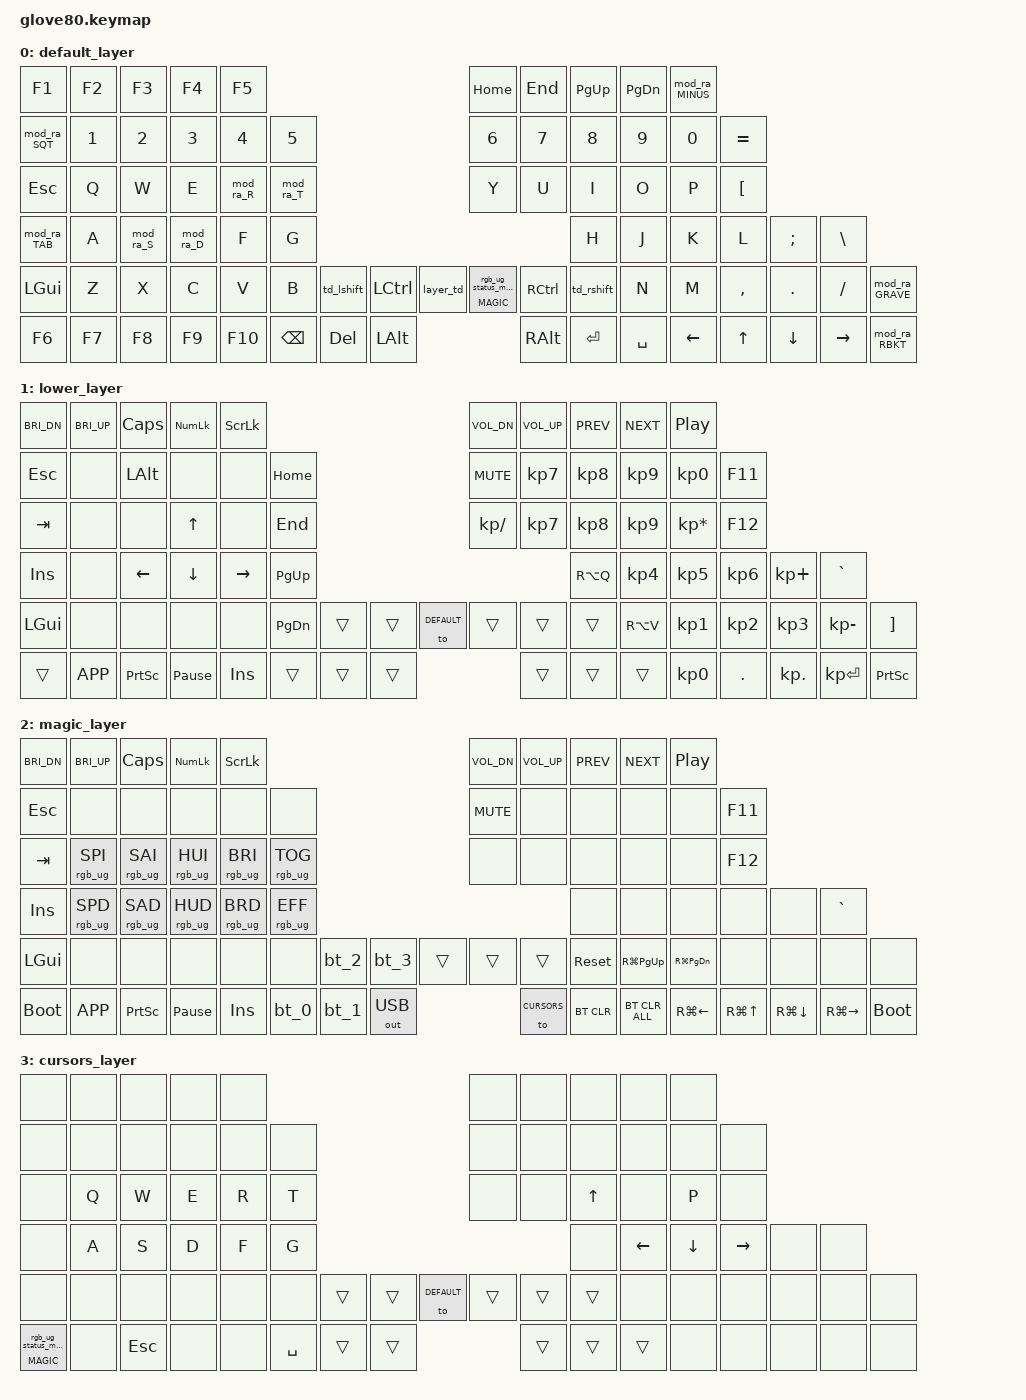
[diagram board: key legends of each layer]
/*
 * Copyright (c) 2020 The ZMK Contributors
 *
 * SPDX-License-Identifier: MIT
 */

#include <behaviors.dtsi>
#include <dt-bindings/zmk/keys.h>
#include <dt-bindings/zmk/bt.h>
#include <dt-bindings/zmk/ext_power.h>
#include <dt-bindings/zmk/outputs.h>
#include <dt-bindings/zmk/rgb.h>

#define HYPER LC(LS(LG(LALT)))

// layers
#define DEFAULT 0
#define LOWER 1
#define MAGIC 2
#define CURSORS 3

/*ROW 01*/
#define k_F1	0
#define k_F2	1
#define k_F3	2
#define k_F4	3
#define k_F5	4
#define k_HOME	5
#define k_END	6
#define k_PG_UP	7
#define k_PG_DN	8
#define k_RBKT	9
	
	/*ROW 02*/
#define k_GRAVE	10
#define k_N1	11
#define k_N2	12
#define k_N3	13
#define k_N4	14
#define k_N5	15
#define k_N6	16
#define k_N7	17
#define k_N8	18
#define k_N9	19
#define k_N0	20
#define k_EQUAL	21
	
	/*ROW 03*/
#define k_ESC	22
#define k_Q	23
#define k_W	24
#define k_E	25
#define k_R	26
#define k_T	27
#define k_Z	28
#define k_U	29
#define k_I	30
#define k_O	31
#define k_P	32
#define k_LBKT	33
	
	/*ROW 04*/
#define k_TAB	34
#define k_A	35
#define k_S	36
#define k_D	37
#define k_F	38
#define k_G	39
#define k_H	40
#define k_J	41
#define k_K	42
#define k_L	43
#define k_SEMI	44
#define k_BSLH	45
	
	/*ROW 05*/
#define k_LGUI	46
#define k_Y	47
#define k_X	48
#define k_C	49
#define k_V	50
#define k_B	51
	
#define k_LSHIFT	52
#define k_LCTRL	53
#define k_LOWER	54

#define k_MAGIC	55
#define k_RCTRL	56
#define k_RSHIFT	57
	
#define k_N	58
#define k_M	59
#define k_COMMA	60
#define k_DOT	61
#define k_FSLH	62
#define k_MINUS	63
	
	/*ROW 06*/
#define k_F6	64
#define k_F7	65
#define k_F8	66
#define k_F9	67
#define k_F10	68
	
#define k_BSPC	69
#define k_DEL	70
#define k_LALT	71
	
#define k_RALT	72
#define k_RET	73
#define k_SPACE	74
	
#define k_LEFT	75
#define k_UP	76
#define k_DOWN	77
#define k_RIGHT	78
#define k_SQT	79

/ {


    macros {
        rgb_ug_status_macro: rgb_ug_status_macro_0 {
            label = "RGB_UG_STATUS";
            compatible = "zmk,behavior-macro";
            #binding-cells = <0>;
            bindings
                = <&rgb_ug RGB_STATUS>;
        };

        bt_0: bt_profile_macro_0 {
            label = "BT_0";
            compatible = "zmk,behavior-macro";
            #binding-cells = <0>;
            bindings
                = <&out OUT_BLE>,
                  <&bt BT_SEL 0>;
        };

        bt_1: bt_profile_macro_1 {
            label = "BT_1";
            compatible = "zmk,behavior-macro";
            #binding-cells = <0>;
            bindings
                = <&out OUT_BLE>,
                  <&bt BT_SEL 1>;
        };

        bt_2: bt_profile_macro_2 {
            label = "BT_2";
            compatible = "zmk,behavior-macro";
            #binding-cells = <0>;
            bindings
                = <&out OUT_BLE>,
                  <&bt BT_SEL 2>;
        };

        bt_3: bt_profile_macro_3 {
            label = "BT_3";
            compatible = "zmk,behavior-macro";
            #binding-cells = <0>;
            bindings
                = <&out OUT_BLE>,
                  <&bt BT_SEL 3>;
        };
    };

    behaviors {
        // For the "layer" key, it'd nice to be able to use it as either a shift or a toggle.
        // Configure it as a tap dance, so the first tap (or hold) is a &mo and the second tap is a &to
        layer_td: tap_dance_0 {
            compatible = "zmk,behavior-tap-dance";
            label = "LAYER_TAP_DANCE";
            #binding-cells = <0>;
            tapping-term-ms = <200>;
            bindings = <&mo LOWER>, <&to LOWER>;
        };

        magic: magic_hold_tap {
            compatible = "zmk,behavior-hold-tap";
            label = "MAGIC_HOLD_TAP";
            #binding-cells = <2>;
            flavor = "tap-preferred";
            tapping-term-ms = <200>;
            bindings = <&mo>, <&rgb_ug_status_macro>;
        };
	
	prog_caps: behavior_prog_caps_word {
		compatible	=	"zmk,behavior-caps-word";
		label	=	"PROG_CAPS";
		#binding-cells	=	<0>;
		continue-list	=	<BSPC DEL N1 N2 N3 N4 N5 N6 N7 N8 N9 N0 FSLH>;
	};

	//td_ctlopt: tap_dance_2 {
	//	compatible	=	"zmk,behavior-tap-dance";
	//	label	=	"TAP_OPTION";
	//	#binding-cells	=	<0>;
	//	tapping-term-ms	=	<400>;
	//	bindings	=	<&kp RCTRL>, <&kp K_APP>;
	//};

	td_lshift: tap_dance_3 {
		compatible	=	"zmk,behavior-tap-dance";
		label	=	"TAP_LOCK_LSHIFT";
		#binding-cells	=	<0>;
		tapping-term-ms	=	<400>;
		bindings	=	<&kp LSHIFT>, <&prog_caps>;
	};

	td_rshift: tap_dance_4 {
		compatible	=	"zmk,behavior-tap-dance";
		label	=	"TAP_LOCK_RSHIFT";
		#binding-cells	=	<0>;
		tapping-term-ms	=	<400>;
		bindings	=	<&kp RSHIFT>, <&prog_caps>;
	};

	mod_ra_R: mod_ralt_r {
		compatible	=	"zmk,behavior-mod-morph";
		label	=	"MOD_RALT_R_SHIFT_8";
		#binding-cells	=	<0>;
		bindings	=	<&kp R>, <&kp B>;
		mods	=	<(MOD_RALT)>;
		keep-mods	=	<(MOD_RALT)>;
	};

	mod_ra_T: mod_ralt_t {
		compatible	=	"zmk,behavior-mod-morph";
		label	=	"MOD_RALT_T_SHIFT_9";
		#binding-cells	=	<0>;
		bindings	=	<&kp T>, <&kp N>;
		mods	=	<(MOD_RALT)>;
		keep-mods	=	<(MOD_RALT)>;
	};

	mod_ra_S: mod_ralt_s_ralt_lt {
		compatible	=	"zmk,behavior-mod-morph";
		label	=	"MOD_RALT_S_RALT_LT";
		#binding-cells	=	<0>;
		bindings	=	<&kp S>, <&kp RA(COMMA)>;
		mods	=	<(MOD_RALT)>;
	};

	mod_ra_D: mod_ralt_d_ralt_gt {
		compatible	=	"zmk,behavior-mod-morph";
		label	=	"MOD_RALT_D_RALT_GT";
		#binding-cells	=	<0>;
		bindings	=	<&kp D>, <&kp RA(DOT)>;
		mods	=	<(MOD_RALT)>;
	};

	mod_ra_TAB: mod_lalt_tab {
		compatible	=	"zmk,behavior-mod-morph";
		label	=	"MOD_LALT_TAB";
		#binding-cells	=	<0>;
		bindings	=	<&kp TAB>, <&kp LA(TAB)>;
		mods	=	<(MOD_RALT)>;
	};

	mod_ra_SQT: mod_ralt_sqt_bckt {
		compatible	=	"zmk,behavior-mod-morph";
		label	=	"MOD_RALT_SQT_BCKT";
		#binding-cells	=	<0>;
		bindings	=	<&kp LS(N2)>, <&kp RA(N7)>;
		mods	=	<(MOD_RALT)>;
	};

	mod_ra_MINUS: mod_ralt_minus_BCKT {
		compatible	=	"zmk,behavior-mod-morph";
		label	=	"MOD_RALT_MINUS_BCKT";
		#binding-cells	=	<0>;
		bindings	=	<&kp MINUS>, <&kp GRAVE>;
		mods	=	<(MOD_RALT)>;
	};

	mod_ra_GRAVE: mod_ralt_grave_QUESTION {
		compatible	=	"zmk,behavior-mod-morph";
		label	=	"MOD_RALT_GRAVE_QUESTION";
		#binding-cells	=	<0>;
		bindings	=	<&kp LS(MINUS)>, <&kp RBKT>;
		mods	=	<(MOD_RALT)>;
	};

	mod_ra_RBKT: mod_ralt_rbkt_EXCLAIM {
		compatible	=	"zmk,behavior-mod-morph";
		label	=	"MOD_RALT_RBKT_EXCLAIM";
		#binding-cells	=	<0>;
		bindings	=	<&kp LS(N1)>, <&kp SQT>;
		mods	=	<(MOD_RALT)>;
	};
	
    };

    combos {
	compatible	=	"zmk,combos";

	combo_F11 {
		timeout-ms	=	<50>;
		key-positions	=	<k_F8 k_F9>;
		bindings	=	<&kp F11>;
	};

	combo_F12 {
		timeout-ms	=	<50>;
		key-positions	=	<k_F9 k_F10>;
		bindings	=	<&kp F12>;
	};



	combo_ESC {
		timeout-ms	=	<50>;
		key-positions	=	<k_MAGIC k_RALT>;
		bindings	=	<&kp ESC>;
	};




	combo_SHIFT_HOME {
		timeout-ms	=	<50>;
		key-positions	=	<k_HOME k_END>;
		bindings	=	<&kp LS(HOME)>;
	};

	combo_SHIFT_END {
		timeout-ms	=	<50>;
		key-positions	=	<k_END k_RBKT>;
		bindings	=	<&kp LS(END)>;
	};



	combo_BSPC {
		timeout-ms	=	<50>;
		key-positions	=	<k_RET k_SPACE>;
		bindings	=	<&kp BSPC>;
	};



	combo_ALT_F4 {
		timeout-ms	=	<50>;
		key-positions	=	<k_F4 k_F5>;
		bindings	=	<&kp LA(F4)>;
	};
	
	combo_CTRL_BSP {
		timeout-ms	=	<50>;
		key-positions	=	<k_BSPC k_DEL>;
		bindings	=	<&kp LC(BSPC)>;
	};

	combo_SPACE {
		timeout-ms	=	<50>;
		key-positions	=	<k_DEL k_LALT>;
		bindings	=	<&kp SPACE>;
	};


	combo_RET {
		timeout-ms	=	<50>;
		key-positions	=	<k_LOWER k_LALT>;
		bindings	=	<&kp RET>;
	};


	combo_LGUI {
		timeout-ms	=	<50>;
		key-positions	=	<k_LCTRL k_LOWER>;
		bindings	=	<&kp LGUI>;
	};
	
	combo_K_APP {
		timeout-ms	=	<50>;
		key-positions	=	<k_MAGIC k_RCTRL>;
		bindings	=	<&kp K_APP>;
	};
	
    };
    
    keymap {
        compatible = "zmk,keymap";

        default_layer {
            // ---------------------------------------------------------------------------------------------------------------------------------
            // |  F1   |  F2 |  F3 |  F4  |  F5  |                                                               |  F6   |  F7   |  F8  |   F9  |  F10 |
            // |  =    |  1  |  2  |  3   |  4   |  5   |                                                 |  6   |   7   |   8   |  9   |   0   |   -  |
            // |  TAB  |  Q  |  W  |  E   |  R   |  T   |                                                 |  Y   |   U   |   I   |  O   |   P   |   \  |
            // |  ESC  |  A  |  S  |  D   |  F   |  G   |                                                 |  H   |   J   |   K   |  L   |   ;   |   '  |
            // |   `   |  Z  |  X  |  C   |  V   |  B   | LSHFT | LCTRL | LOWER | | LGUI  | RCTRL | RSHFT |  N   |   M   |   ,   |  .   |   /   | PGUP |
            // | MAGIC | HOME| END | LEFT | RIGHT|      | BSPC  | DEL   | LALT  | | RALT  | RET   | SPACE |      |  UP   | DOWN  |  [   |   ]   | PGDN |

            // &kp F1         &kp F2   &kp F3      &kp F4      &kp F5                                                                                         &kp F6  &kp F7      &kp F8      &kp F9      &kp F10
            // &kp EQUAL      &kp N1   &kp N2      &kp N3      &kp N4      &kp N5                                                                     &kp N6  &kp N7  &kp N8      &kp N9      &kp N0      &kp MINUS
            // &kp TAB        &kp Q    &kp W       &kp E       &kp R       &kp T                                                                      &kp Y   &kp U   &kp I       &kp O       &kp P       &kp BSLH
            // &kp ESC        &kp A    &kp S       &kp D       &kp F       &kp G                                                                      &kp H   &kp J   &kp K       &kp L       &kp SEMI    &kp SQT
            // &kp GRAVE      &kp Z    &kp X       &kp C       &kp V       &kp B   &kp LSHFT   &kp LCTRL   &layer_td  &kp LGUI  &kp RCTRL &kp RSHFT   &kp N   &kp M   &kp COMMA   &kp DOT     &kp FSLH    &kp PG_UP
            // &magic MAGIC 0 &kp HOME &kp END     &kp LEFT    &kp RIGHT           &kp BSPC    &kp DEL     &kp LALT   &kp RALT  &kp RET   &kp SPACE           &kp UP  &kp DOWN    &kp LBKT    &kp RBKT
	    
	    
            bindings = <
	    
	&kp F1	&kp F2	&kp F3	&kp F4	&kp F5									&kp HOME	&kp END	&kp PG_UP	&kp PG_DN	&mod_ra_MINUS
	&mod_ra_SQT	&kp N1	&kp N2	&kp N3	&kp N4	&kp N5							&kp N6	&kp N7	&kp N8	&kp N9	&kp N0	&kp EQUAL
	&kp ESC	&kp Q	&kp W	&kp E	&mod_ra_R	&mod_ra_T							&kp Y	&kp U	&kp I	&kp O	&kp P	&kp LBKT
	&mod_ra_TAB	&kp A	&mod_ra_S	&mod_ra_D	&kp F	&kp G							&kp H	&kp J	&kp K	&kp L	&kp SEMI	&kp BSLH
	&kp LGUI	&kp Z	&kp X	&kp C	&kp V	&kp B	&td_lshift	&kp LCTRL	&layer_td	&magic MAGIC 0	&kp RCTRL	&td_rshift	&kp N	&kp M	&kp COMMA	&kp DOT	&kp FSLH	&mod_ra_GRAVE
	&kp F6	&kp F7	&kp F8	&kp F9	&kp F10		&kp BSPC	&kp DEL	&kp LALT	&kp RALT	&kp RET	&kp SPACE		&kp LEFT	&kp UP	&kp DOWN	&kp RIGHT	&mod_ra_RBKT

            >;
        };

        lower_layer {
            bindings = <
	    
	&kp C_BRI_DN	&kp C_BRI_UP	&kp CAPS	&kp KP_NUM	&kp SCROLLLOCK									&kp C_VOL_DN	&kp C_VOL_UP	&kp C_PREV	&kp C_NEXT	&kp C_PP
	&kp ESC	&none	&kp LALT	&none	&none	&kp HOME							&kp C_MUTE	&kp KP_N7	&kp KP_N8	&kp KP_N9	&kp KP_N0	&kp F11
	&kp TAB	&none	&none	&kp UP_ARROW	&none	&kp END							&kp KP_SLASH	&kp KP_N7	&kp KP_N8	&kp KP_N9	&kp KP_MULTIPLY	&kp F12
	&kp INS	&none	&kp LEFT_ARROW	&kp DOWN_ARROW	&kp RIGHT_ARROW	&kp PG_UP							&kp RA(Q)	&kp KP_N4	&kp KP_N5	&kp KP_N6	&kp KP_PLUS	&kp GRAVE
	&kp LGUI	&none	&none	&none	&none	&kp PG_DN	&trans	&trans	&to DEFAULT	&trans	&trans	&trans	&kp RA(V)	&kp KP_N1	&kp KP_N2	&kp KP_N3	&kp KP_MINUS	&kp RBKT
	&trans	&kp K_APP	&kp PRINTSCREEN	&kp PAUSE_BREAK	&kp INS		&trans	&trans	&trans	&trans	&trans	&trans		&kp KP_N0	&kp DOT	&kp KP_DOT	&kp KP_ENTER	&kp PRINTSCREEN

            >;
        };

        magic_layer {
            bindings = <
	    
	&kp C_BRI_DN	&kp C_BRI_UP	&kp CAPS	&kp KP_NUM	&kp SCROLLLOCK									&kp C_VOL_DN	&kp C_VOL_UP	&kp C_PREV	&kp C_NEXT	&kp C_PP
	&kp ESC	&none	&none	&none	&none	&none							&kp C_MUTE	&none	&none	&none	&none	&kp F11
	&kp TAB	&rgb_ug RGB_SPI	&rgb_ug RGB_SAI	&rgb_ug RGB_HUI	&rgb_ug RGB_BRI	&rgb_ug RGB_TOG							&none	&none	&none	&none	&none	&kp F12
	&kp INS	&rgb_ug RGB_SPD	&rgb_ug RGB_SAD	&rgb_ug RGB_HUD	&rgb_ug RGB_BRD	&rgb_ug RGB_EFF							&none	&none	&none	&none	&none	&kp GRAVE
	&kp LGUI	&none	&none	&none	&none	&none	&bt_2	&bt_3	&trans	&trans	&trans	&sys_reset	&kp RG(PG_UP)	&kp RG(PG_DN)	&none	&none	&none	&none
	&bootloader	&kp K_APP	&kp PRINTSCREEN	&kp PAUSE_BREAK	&kp INS		&bt_0	&bt_1	&out OUT_USB	&to CURSORS	&bt BT_CLR	&bt BT_CLR_ALL		&kp RG(LEFT)	&kp RG(UP)	&kp RG(DOWN)	&kp RG(RIGHT)	&bootloader

	    
            >;
        };

        cursors_layer {
            bindings = <
	    
	&none	&none	&none	&none	&none									&none	&none	&none	&none	&none
	&none	&none	&none	&none	&none	&none							&none	&none	&none	&none	&none	&none
	&none	&kp Q	&kp W	&kp E	&kp R	&kp T							&none	&none	&kp UP_ARROW	&none	&kp P	&none
	&none	&kp A	&kp S	&kp D	&kp F	&kp G							&none	&kp LEFT_ARROW	&kp DOWN_ARROW	&kp RIGHT_ARROW	&none	&none
	&none	&none	&none	&none	&none	&none	&trans	&trans	&to DEFAULT	&trans	&trans	&trans	&none	&none	&none	&none	&none	&none
	&magic MAGIC 0	&none	&kp ESC	&none	&none		&kp SPACE	&trans	&trans	&trans	&trans	&trans		&none	&none	&none	&none	&none
	
            >;
        };
	
    };
};
